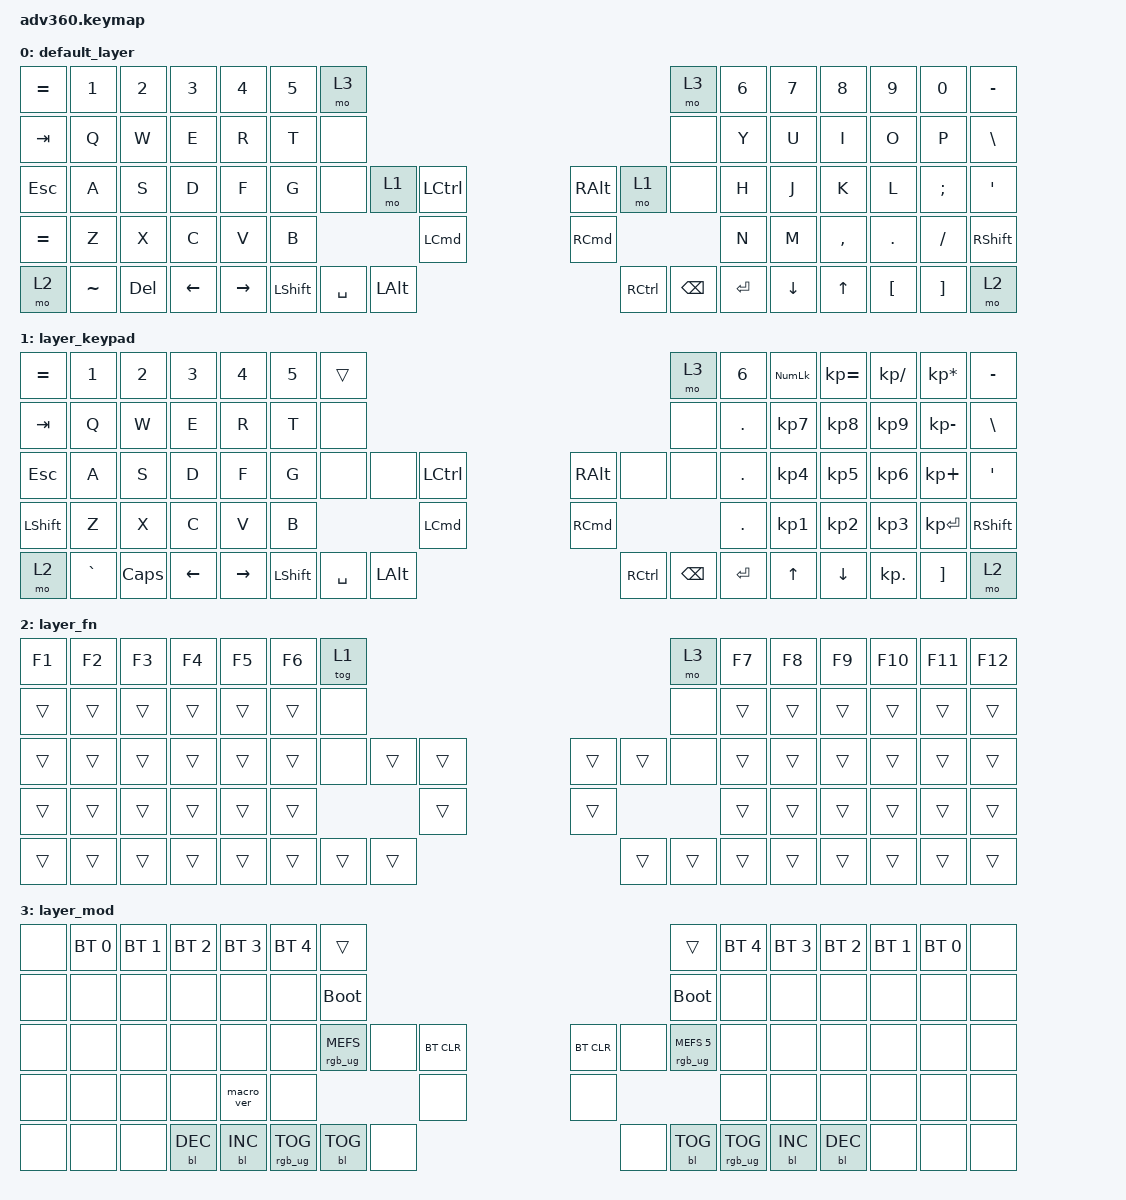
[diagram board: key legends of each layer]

/*
 * Copyright (c) 2020 The ZMK Contributors
 *
 * SPDX-License-Identifier: MIT
 */


/* THIS FILE WAS GENERATED!
 *
 * This file was generated automatically. You may or may not want to
 * edit it directly.
 */

#include <behaviors.dtsi>
#include <dt-bindings/zmk/keys.h>
#include <dt-bindings/zmk/bt.h>
#include <dt-bindings/zmk/rgb.h>
#include <dt-bindings/zmk/backlight.h>

/ {
  behaviors {
    #include "macros.dtsi"
    #include "version.dtsi"

    hm: homerow_mods {
        compatible = "zmk,behavior-hold-tap";
        label = "HOMEROW_MODS";
        #binding-cells = <2>;
        tapping-term-ms = <200>;
        quick_tap_ms = <175>;
        flavor = "tap-preferred";
        bindings = <&kp>, <&kp>;
    };
  };

    keymap {
        compatible = "zmk,keymap";


        default_layer {
            bindings = <
 &kp EQUAL     &kp N1      &kp N2    &kp N3     &kp N4  &kp N5                     &mo 3                                                                      &mo 3  &kp N6    &kp N7     &kp N8    &kp N9    &kp N0  &kp MINUS
   &kp TAB      &kp Q       &kp W     &kp E      &kp R   &kp T                     &none                                                                      &none   &kp Y     &kp U      &kp I     &kp O     &kp P   &kp BSLH
   &kp ESC      &kp A       &kp S     &kp D      &kp F   &kp G                     &none      &mo 1  &kp LCTRL                   &kp RALT          &mo 1      &none   &kp H     &kp J      &kp K     &kp L  &kp SEMI    &kp SQT
 &kp EQUAL      &kp Z       &kp X     &kp C      &kp V   &kp B                                        &kp LCMD                   &kp RCMD                             &kp N     &kp M  &kp COMMA   &kp DOT  &kp FSLH  &kp RSHFT
     &mo 2  &kp TILDE  &kp DELETE  &kp LEFT  &kp RIGHT                    &kp LEFT_SHIFT  &kp SPACE   &kp LALT                  &kp RCTRL  &kp BACKSPACE  &kp ENTER          &kp DOWN     &kp UP  &kp LBKT  &kp RBKT      &mo 2
            >;
        };

        layer_keypad {
            bindings = <
 &kp EQUAL     &kp N1    &kp N2    &kp N3     &kp N4  &kp N5                    &trans                                                                      &mo 3      &kp N6  &kp KP_NUM  &kp KP_EQUAL  &kp KP_DIVIDE  &kp KP_MULTIPLY  &kp MINUS
   &kp TAB      &kp Q     &kp W     &kp E      &kp R   &kp T                     &none                                                                      &none  &kp PERIOD   &kp KP_N7     &kp KP_N8      &kp KP_N9     &kp KP_MINUS   &kp BSLH
   &kp ESC      &kp A     &kp S     &kp D      &kp F   &kp G                     &none      &none  &kp LCTRL                   &kp RALT          &none      &none  &kp PERIOD   &kp KP_N4     &kp KP_N5      &kp KP_N6      &kp KP_PLUS    &kp SQT
 &kp LSHFT      &kp Z     &kp X     &kp C      &kp V   &kp B                                        &kp LCMD                   &kp RCMD                            &kp PERIOD   &kp KP_N1     &kp KP_N2      &kp KP_N3     &kp KP_ENTER  &kp RSHFT
     &mo 2  &kp GRAVE  &kp CAPS  &kp LEFT  &kp RIGHT                    &kp LEFT_SHIFT  &kp SPACE   &kp LALT                  &kp RCTRL  &kp BACKSPACE  &kp ENTER                  &kp UP      &kp DOWN     &kp KP_DOT         &kp RBKT      &mo 2
            >;
        };

        layer_fn {
            bindings = <
 &kp F1  &kp F2  &kp F3  &kp F4  &kp F5  &kp F6            &tog 1                                                   &mo 3  &kp F7  &kp F8  &kp F9  &kp F10  &kp F11  &kp F12
 &trans  &trans  &trans  &trans  &trans  &trans             &none                                                   &none  &trans  &trans  &trans   &trans   &trans   &trans
 &trans  &trans  &trans  &trans  &trans  &trans             &none  &trans  &trans                  &trans  &trans   &none  &trans  &trans  &trans   &trans   &trans   &trans
 &trans  &trans  &trans  &trans  &trans  &trans                            &trans                  &trans                  &trans  &trans  &trans   &trans   &trans   &trans
 &trans  &trans  &trans  &trans  &trans                    &trans  &trans  &trans                  &trans  &trans  &trans          &trans  &trans   &trans   &trans   &trans
            >;
        };

        layer_mod {
            bindings = <
  &none  &bt BT_SEL 0  &bt BT_SEL 1  &bt BT_SEL 2  &bt BT_SEL 3  &bt BT_SEL 4                          &trans                                                                                  &trans  &bt BT_SEL 4  &bt BT_SEL 3  &bt BT_SEL 2  &bt BT_SEL 1  &bt BT_SEL 0   &none
  &none         &none         &none         &none         &none         &none                     &bootloader                                                                             &bootloader         &none         &none         &none         &none         &none   &none
  &none         &none         &none         &none         &none         &none            &rgb_ug RGB_MEFS_CMD       &none  &bt BT_CLR                  &bt BT_CLR       &none  &rgb_ug RGB_MEFS_CMD 5         &none         &none         &none         &none         &none   &none
  &none         &none         &none         &none    &macro_ver         &none                                                   &none                       &none                                             &none         &none         &none         &none         &none   &none
  &none         &none         &none    &bl BL_DEC    &bl BL_INC                               &rgb_ug RGB_TOG  &bl BL_TOG       &none                       &none  &bl BL_TOG         &rgb_ug RGB_TOG                  &bl BL_INC    &bl BL_DEC         &none         &none   &none
            >;
        };

    };
};
